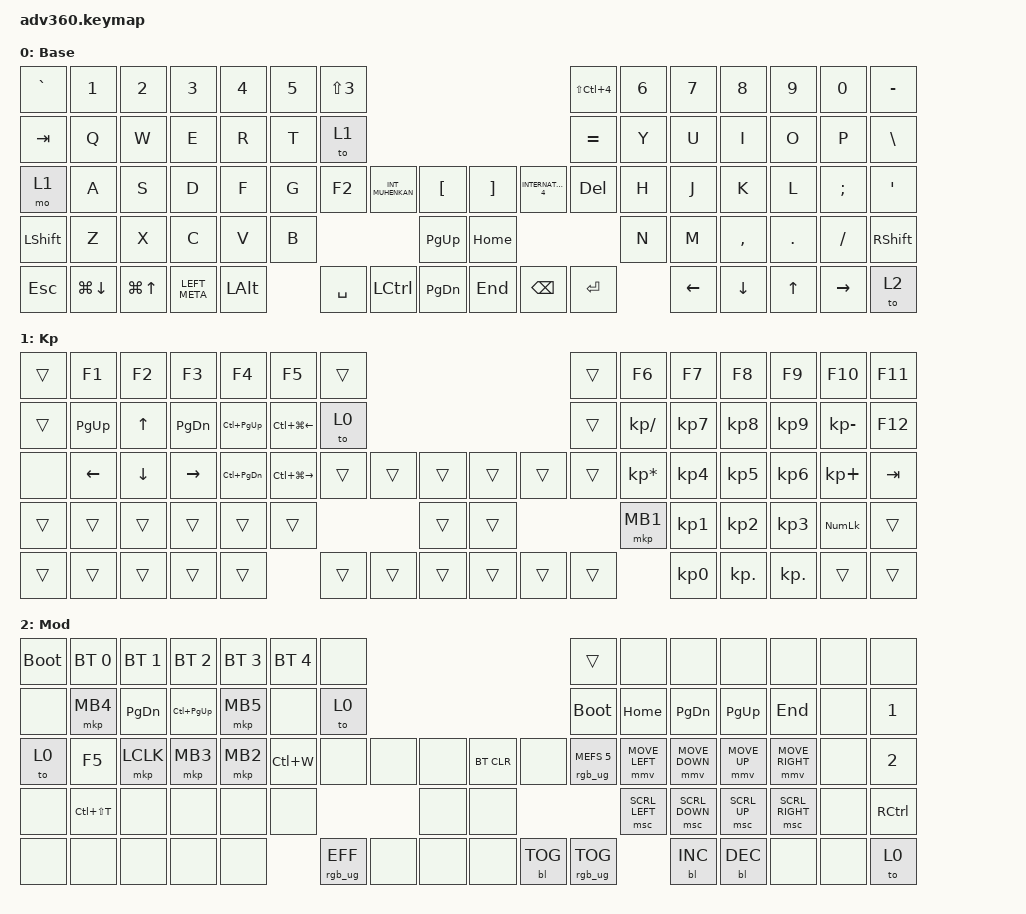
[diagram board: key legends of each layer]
#include <dt-bindings/zmk/stp.h>
#include <behaviors.dtsi>
#include <dt-bindings/zmk/backlight.h>
#include <dt-bindings/zmk/bt.h>
#include <dt-bindings/zmk/keys.h>
#include <dt-bindings/zmk/pointing.h>
#include <dt-bindings/zmk/rgb.h>

/ {
    behaviors {
        #include "macros.dtsi"
      #include "version.dtsi"

        hm: homerow_mods {
            compatible = "zmk,behavior-hold-tap";
            label = "HOMEROW_MODS";
            #binding-cells = <2>;
            tapping-term-ms = <200>;
            quick_tap_ms = <175>;
            flavor = "tap-preferred";
            bindings = <&kp>, <&kp>;
        };
    };

    macros {
        google_drive_share: google_drive_share {
            compatible = "zmk,behavior-macro";
            #binding-cells = <0>;
            bindings =
                <&macro_press>,
                <&kp LEFT_ALT>,
                <&macro_wait_time 10>,
                <&kp LEFT_CONTROL>,
                <&macro_wait_time 10>,
                <&macro_tap>,
                <&kp A>,
                <&macro_wait_time 10>,
                <&macro_release>,
                <&kp LEFT_ALT &kp LEFT_CONTROL>;

            label = "GOOGLE_DRIVE_SHARE";
        };
    };

    keymap {
        compatible = "zmk,keymap";

        default_layer {
            display-name = "Base";
            bindings = <
&kp GRAVE  &kp N1        &kp N2            &kp N3         &kp N4        &kp N5  &kp LS(N3)                                                                                  &kp LS(LC(N4))  &kp N6  &kp N7    &kp N8     &kp N9   &kp N0     &kp MINUS
&kp TAB    &kp Q         &kp W             &kp E          &kp R         &kp T   &to 1                                                                                       &kp EQUAL       &kp Y   &kp U     &kp I      &kp O    &kp P      &kp BSLH
&mo 1      &kp A         &kp S             &kp D          &kp F         &kp G   &kp F2      &kp INT_MUHENKAN  &kp LEFT_BRACKET      &kp RIGHT_BRACKET  &kp INTERNATIONAL_4  &kp DEL         &kp H   &kp J     &kp K      &kp L    &kp SEMI   &kp SQT
&kp LSHFT  &kp Z         &kp X             &kp C          &kp V         &kp B                                 &kp PG_UP             &kp HOME                                                &kp N   &kp M     &kp COMMA  &kp DOT  &kp FSLH   &kp RIGHT_SHIFT
&kp ESC    &kp LG(DOWN)  &kp LG(UP_ARROW)  &kp LEFT_META  &kp LEFT_ALT          &kp SPACE   &kp LCTRL         &kp PG_DN             &kp END            &kp BSPC             &kp ENTER               &kp LEFT  &kp DOWN   &kp UP   &kp RIGHT  &to 2
            >;
        };

        keypad {
            display-name = "Kp";
            bindings = <
&trans  &kp F1     &kp F2    &kp F3     &kp F4             &kp F5                  &trans                                      &trans  &kp F6           &kp F7     &kp F8      &kp F9      &kp F10       &kp F11
&trans  &kp PG_UP  &kp UP    &kp PG_DN  &kp LC(PG_UP)      &kp LC(LG(LEFT_ARROW))  &to 0                                       &trans  &kp KP_DIVIDE    &kp KP_N7  &kp KP_N8   &kp KP_N9   &kp KP_MINUS  &kp F12
&none   &kp LEFT   &kp DOWN  &kp RIGHT  &kp LC(PAGE_DOWN)  &kp LC(LG(RIGHT))       &trans  &trans  &trans      &trans  &trans  &trans  &kp KP_MULTIPLY  &kp KP_N4  &kp KP_N5   &kp KP_N6   &kp KP_PLUS   &kp TAB
&trans  &trans     &trans    &trans     &trans             &trans                                  &trans      &trans                  &mkp MB1         &kp KP_N1  &kp KP_N2   &kp KP_N3   &kp KP_NUM    &trans
&trans  &trans     &trans    &trans     &trans                                     &trans  &trans  &trans      &trans  &trans  &trans                   &kp KP_N0  &kp KP_DOT  &kp KP_DOT  &trans        &trans
            >;
        };

        mod {
            display-name = "Mod";
            bindings = <
&bootloader  &bt BT_SEL 0   &bt BT_SEL 1   &bt BT_SEL 2   &bt BT_SEL 3  &bt BT_SEL 4  &none                                                      &trans                  &none           &none           &none         &none            &none  &none
&none        &mkp MB4       &kp PAGE_DOWN  &kp LC(PG_UP)  &mkp MB5      &none         &to 0                                                      &bootloader             &kp HOME        &kp PAGE_DOWN   &kp PG_UP     &kp END          &none  &kp NUMBER_1
&to 0        &kp F5         &mkp LCLK      &mkp MB3       &mkp MB2      &kp LC(W)     &none            &none  &none      &bt BT_CLR  &none       &rgb_ug RGB_MEFS_CMD 5  &mmv MOVE_LEFT  &mmv MOVE_DOWN  &mmv MOVE_UP  &mmv MOVE_RIGHT  &none  &kp NUMBER_2
&none        &kp LC(LS(T))  &none          &none          &none         &none                                 &none      &none                                           &msc SCRL_LEFT  &msc SCRL_DOWN  &msc SCRL_UP  &msc SCRL_RIGHT  &none  &kp RCTRL
&none        &none          &none          &none          &none                       &rgb_ug RGB_EFF  &none  &none      &none       &bl BL_TOG  &rgb_ug RGB_TOG                         &bl BL_INC      &bl BL_DEC    &none            &none  &to 0
            >;
        };
    };
};
